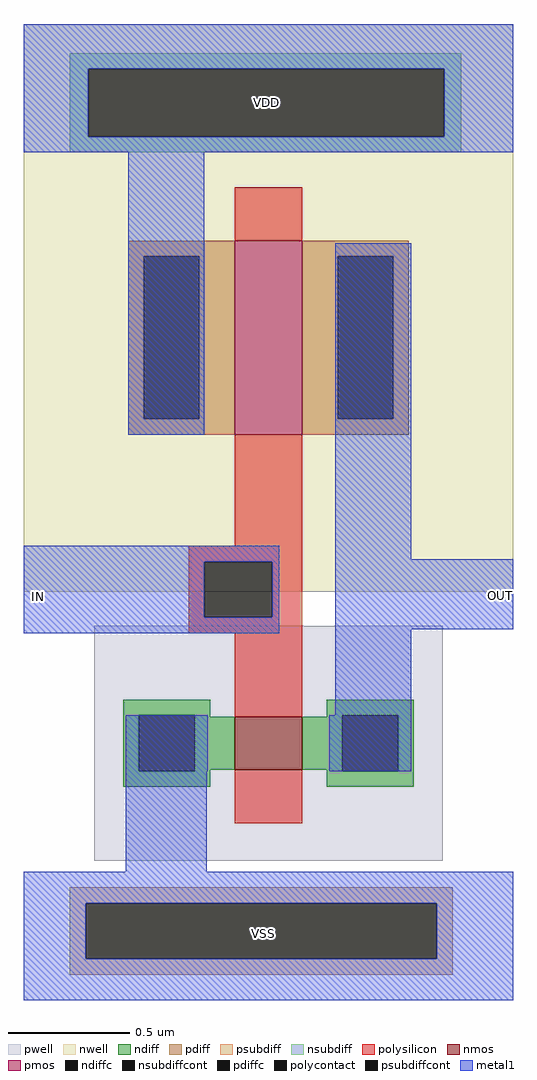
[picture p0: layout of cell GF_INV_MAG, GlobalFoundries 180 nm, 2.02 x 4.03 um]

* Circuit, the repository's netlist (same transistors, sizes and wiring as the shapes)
* NGSPICE file created from GF_INV_MAG.ext - technology: gf180mcuC

.subckt pmos_3p3_MQGBLR a_n28_n124# a_n116_n80# a_28_n80# w_n202_n210#
X0 a_28_n80# a_n28_n124# a_n116_n80# w_n202_n210# pfet_03v3 ad=0.352p pd=2.48u as=0.352p ps=2.48u w=0.8u l=0.28u
.ends

.subckt nmos_3p3_DDNVWA a_n120_n36# a_28_n22# a_n28_n66# VSUBS
X0 a_28_n22# a_n28_n66# a_n120_n36# VSUBS nfet_03v3 ad=0.152p pd=1.64u as=0.152p ps=1.64u w=0.22u l=0.28u
.ends

.subckt GF_INV_MAG VDD VSS IN OUT
Xpmos_3p3_MQGBLR_0 IN VDD OUT VDD pmos_3p3_MQGBLR
Xnmos_3p3_DDNVWA_0 VSS OUT IN VSS nmos_3p3_DDNVWA
.ends

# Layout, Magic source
magic
tech gf180mcuC
magscale 1 10
<< nwell >>
rect -118 526 286 631
rect -32 292 31 526
<< psubdiff >>
rect -80 -95 236 -82
rect -80 -141 -67 -95
rect 223 -141 236 -95
rect -80 -154 236 -141
<< nsubdiff >>
rect -80 594 243 607
rect -80 538 -65 594
rect 229 538 243 594
rect -80 525 243 538
<< psubdiffcont >>
rect -67 -141 223 -95
<< nsubdiffcont >>
rect -65 538 229 594
<< polysilicon >>
rect 56 200 112 248
rect 18 187 112 200
rect 18 141 31 187
rect 87 141 112 187
rect 18 128 112 141
rect 56 103 112 128
<< polycontact >>
rect 31 141 87 187
<< metal1 >>
rect -118 594 286 631
rect -118 538 -65 594
rect 229 538 286 594
rect -118 525 286 538
rect -32 292 31 525
rect -118 187 93 200
rect -118 141 31 187
rect 87 141 93 187
rect -118 128 93 141
rect 139 189 202 450
rect 139 131 286 189
rect -34 -69 33 60
rect 139 14 202 131
rect -118 -95 286 -69
rect -118 -141 -67 -95
rect 223 -141 286 -95
rect -118 -175 286 -141
use nmos_3p3_DDNVWA  nmos_3p3_DDNVWA_0
transform 1 0 84 0 1 37
box -144 -97 144 97
use pmos_3p3_MQGBLR  pmos_3p3_MQGBLR_0
transform 1 0 84 0 1 372
box -202 -210 202 210
<< labels >>
flabel nsubdiffcont 82 566 82 566 0 FreeSans 640 0 0 0 VDD
port 0 nsew
flabel psubdiffcont 80 -120 80 -120 0 FreeSans 640 0 0 0 VSS
port 1 nsew
flabel metal1 -106 158 -106 158 0 FreeSans 640 0 0 0 IN
port 2 nsew
flabel metal1 276 159 276 159 0 FreeSans 640 0 0 0 OUT
port 3 nsew
<< end >>

# cell nmos_3p3_DDNVWA: kit device nmos_3p3, w 0.220 l 0.280 m 1 nf 1 diffcov 100 polycov 100 guard 0 glc 0 grc 0 gtc 0 gbc 0 tbcov 100 rlcov 100 topc 0 botc 0 poverlap 0 doverlap 1 lmin 0.28 wmin 0.22 full_metal 0 compatible {nmos_3p3 nmos_6p0 nmos_6p0_nat}

# cell pmos_3p3_MQGBLR: kit device pmos_3p3, w 0.8 l 0.280 m 1 nf 1 diffcov 100 polycov 100 guard 0 glc 0 grc 0 gtc 0 gbc 0 tbcov 100 rlcov 100 topc 0 botc 0 poverlap 0 doverlap 1 lmin 0.28 wmin 0.22 full_metal 0 compatible {pmos_3p3 pmos_6p0}
